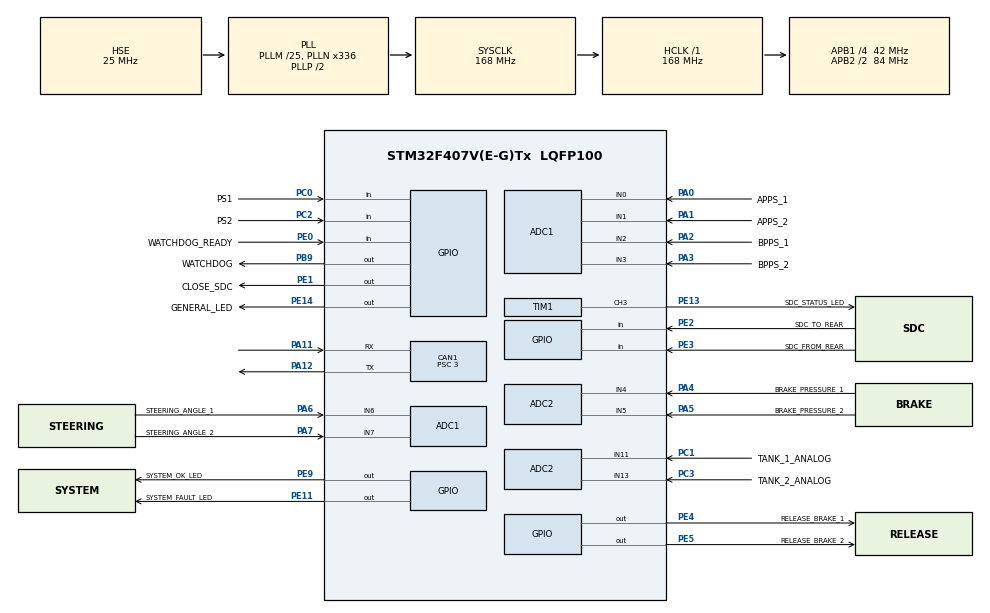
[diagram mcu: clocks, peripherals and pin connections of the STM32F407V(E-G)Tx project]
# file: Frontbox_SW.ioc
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ADC1.Channel-0\#ChannelRegularConversion=ADC_CHANNEL_0
ADC1.Channel-23\#ChannelRegularConversion=ADC_CHANNEL_1
ADC1.Channel-28\#ChannelRegularConversion=ADC_CHANNEL_2
ADC1.Channel-29\#ChannelRegularConversion=ADC_CHANNEL_3
ADC1.Channel-30\#ChannelRegularConversion=ADC_CHANNEL_6
ADC1.Channel-31\#ChannelRegularConversion=ADC_CHANNEL_7
ADC1.ContinuousConvMode=DISABLE
ADC1.DMAContinuousRequests=DISABLE
ADC1.DiscontinuousConvMode=DISABLE
ADC1.EOCSelection=ADC_EOC_SEQ_CONV
ADC1.EnableAnalogWatchDog=false
ADC1.ExternalTrigConv=ADC_EXTERNALTRIGCONV_T2_TRGO
ADC1.NbrOfConversion=6
ADC1.NbrOfConversionFlag=1
ADC1.Rank-0\#ChannelRegularConversion=1
ADC1.Rank-23\#ChannelRegularConversion=2
ADC1.Rank-28\#ChannelRegularConversion=3
ADC1.Rank-29\#ChannelRegularConversion=4
ADC1.Rank-30\#ChannelRegularConversion=5
ADC1.Rank-31\#ChannelRegularConversion=6
ADC1.SamplingTime-0\#ChannelRegularConversion=ADC_SAMPLETIME_3CYCLES
ADC1.SamplingTime-23\#ChannelRegularConversion=ADC_SAMPLETIME_3CYCLES
ADC1.SamplingTime-28\#ChannelRegularConversion=ADC_SAMPLETIME_3CYCLES
ADC1.SamplingTime-29\#ChannelRegularConversion=ADC_SAMPLETIME_3CYCLES
ADC1.SamplingTime-30\#ChannelRegularConversion=ADC_SAMPLETIME_3CYCLES
ADC1.SamplingTime-31\#ChannelRegularConversion=ADC_SAMPLETIME_3CYCLES
ADC1.master=1
ADC2.Channel-0\#ChannelRegularConversion=ADC_CHANNEL_4
ADC2.Channel-1\#ChannelRegularConversion=ADC_CHANNEL_5
ADC2.Channel-2\#ChannelRegularConversion=ADC_CHANNEL_11
ADC2.Channel-3\#ChannelRegularConversion=ADC_CHANNEL_13
ADC2.ContinuousConvMode=DISABLE
ADC2.DMAContinuousRequests=DISABLE
ADC2.EOCSelection=ADC_EOC_SEQ_CONV
ADC2.ExternalTrigConv=ADC_EXTERNALTRIGCONV_T8_TRGO
ADC2.NbrOfConversion=4
ADC2.NbrOfConversionFlag=1
ADC2.Rank-0\#ChannelRegularConversion=1
ADC2.Rank-1\#ChannelRegularConversion=2
ADC2.Rank-2\#ChannelRegularConversion=3
ADC2.Rank-3\#ChannelRegularConversion=4
ADC2.SamplingTime-0\#ChannelRegularConversion=ADC_SAMPLETIME_3CYCLES
ADC2.SamplingTime-1\#ChannelRegularConversion=ADC_SAMPLETIME_3CYCLES
ADC2.SamplingTime-2\#ChannelRegularConversion=ADC_SAMPLETIME_3CYCLES
ADC2.SamplingTime-3\#ChannelRegularConversion=ADC_SAMPLETIME_3CYCLES
CAN1.BS1=CAN_BS1_11TQ
CAN1.BS2=CAN_BS2_2TQ
CAN1.CalculateBaudRate=1000000
CAN1.CalculateTimeBit=1000
CAN1.CalculateTimeQuantum=71.42857142857143
CAN1.NART=ENABLE
CAN1.Prescaler=3
Dma.ADC1.0.Direction=DMA_PERIPH_TO_MEMORY
Dma.ADC1.0.FIFOMode=DMA_FIFOMODE_DISABLE
Dma.ADC1.0.Instance=DMA2_Stream0
Dma.ADC1.0.MemDataAlignment=DMA_MDATAALIGN_HALFWORD
Dma.ADC1.0.MemInc=DMA_MINC_ENABLE
Dma.ADC1.0.Mode=DMA_NORMAL
Dma.ADC1.0.PeriphDataAlignment=DMA_PDATAALIGN_HALFWORD
Dma.ADC1.0.PeriphInc=DMA_PINC_DISABLE
Dma.ADC1.0.Priority=DMA_PRIORITY_LOW
Dma.ADC2.1.Direction=DMA_PERIPH_TO_MEMORY
Dma.ADC2.1.FIFOMode=DMA_FIFOMODE_DISABLE
Dma.ADC2.1.Instance=DMA2_Stream2
Dma.ADC2.1.MemDataAlignment=DMA_MDATAALIGN_HALFWORD
Dma.ADC2.1.MemInc=DMA_MINC_ENABLE
Dma.ADC2.1.Mode=DMA_NORMAL
Dma.ADC2.1.PeriphDataAlignment=DMA_PDATAALIGN_HALFWORD
Dma.ADC2.1.PeriphInc=DMA_PINC_DISABLE
Dma.ADC2.1.Priority=DMA_PRIORITY_LOW
Dma.Request0=ADC1
Dma.Request1=ADC2
FREERTOS.BinarySemaphores01=angleBufferAvailableSemaphore,Dynamic,NULL,;pressureDmaCpltSemaphore,Dynamic,NULL,;angleDataAvailableSemaphore,Dynamic,NULL,;BrakeNotActiveSemaphore,Static,BrakeNotActiveSemaphoreControlBlock,Available
FREERTOS.Mutexes01=ebs_status_can_message_mutex_,Static,ebs_status_can_message_mutex_ControlBlock;can_message_mutex_,Static,can_message_mutex_ControlBlock
FREERTOS.Queues01=ebs_sm_event_queue_,16,Event_t,0,Static,ebs_sm_event_queueBuffer,ebs_sm_event_queueControlBlock
FREERTOS.Tasks01=ebs_sm_,24,512,taskEbsStateMachine,As weak,NULL,Static,ebs_sm_Buffer,ebs_sm_ControlBlock;can_rx_,16,256,taskCanRx,As weak,NULL,Static,can_rx_Buffer,can_rx_ControlBlock;can_tx_,16,256,taskCanTx,As weak,NULL,Static,can_tx_Buffer,can_tx_ControlBlock;angle_sensors_,48,512,taskAngleSensor,As weak,NULL,Static,angle_sensors_Buffer,angle_sensors_ControlBlock;pressure_sensor,24,256,taskPressureSensor,As weak,NULL,Static,pressure_sensorBuffer,pressure_sensorControlBlock;digital_inputs_,24,256,taskDigitalInputs,As weak,NULL,Static,digital_inputs_Buffer,digital_inputs_ControlBlock;heartbeat_,8,256,taskHeartbeat,As weak,NULL,Static,heartbeatBuffer,heartbeatControlBlock;CANNodeWatchDog,24,256,taskCANNodeWatchDog,As weak,NULL,Static,CANNodeWatchDogBuffer,CANNodeWatchDogControlBlock
FREERTOS.Timers01=timeoutTimer,timeoutCallback,osTimerOnce,As weak,NULL,Static,timeoutTimerControlBlock
FREERTOS.configMINIMAL_STACK_SIZE=256
Mcu.Family=STM32F4
Mcu.Name=STM32F407V(E-G)Tx
Mcu.Package=LQFP100
NVIC.CAN1_RX0_IRQn=true\:5\:0\:false\:false\:true\:true\:true\:true\:true
NVIC.CAN1_RX1_IRQn=true\:5\:0\:false\:false\:true\:true\:true\:true\:true
NVIC.DMA2_Stream0_IRQn=true\:5\:0\:false\:false\:true\:true\:false\:true\:true
NVIC.DMA2_Stream2_IRQn=true\:5\:0\:false\:false\:true\:true\:false\:true\:true
NVIC.PriorityGroup=NVIC_PRIORITYGROUP_4
NVIC.TIM1_TRG_COM_TIM11_IRQn=true\:5\:0\:false\:false\:true\:true\:true\:true\:true
NVIC.TIM1_UP_TIM10_IRQn=true\:5\:0\:false\:false\:true\:true\:true\:true\:true
NVIC.TIM6_DAC_IRQn=true\:15\:0\:false\:false\:true\:false\:false\:true\:true
NVIC.TIM7_IRQn=true\:5\:0\:false\:false\:true\:true\:true\:true\:true
NVIC.TIM8_BRK_TIM12_IRQn=true\:5\:0\:false\:false\:true\:true\:true\:true\:true
NVIC.TIM8_TRG_COM_TIM14_IRQn=true\:5\:0\:false\:false\:true\:true\:true\:true\:true
NVIC.TIM8_UP_TIM13_IRQn=true\:5\:0\:false\:false\:true\:true\:true\:true\:true
NVIC.TimeBase=TIM6_DAC_IRQn
NVIC.TimeBaseIP=TIM6
PA0-WKUP.GPIO_Label=APPS_1
PA0-WKUP.Signal=ADCx_IN0
PA1.GPIO_Label=APPS_2
PA1.Signal=ADCx_IN1
PA11.Mode=CAN_Activate
PA11.Signal=CAN1_RX
PA12.Mode=CAN_Activate
PA12.Signal=CAN1_TX
PA13.Mode=Serial_Wire
PA13.Signal=SYS_JTMS-SWDIO
PA14.Mode=Serial_Wire
PA14.Signal=SYS_JTCK-SWCLK
PA2.GPIO_Label=BPPS_1
PA2.Signal=ADCx_IN2
PA3.GPIO_Label=BPPS_2
PA3.Signal=ADCx_IN3
PA4.GPIO_Label=BRAKE_PRESSURE_1
PA4.Signal=ADCx_IN4
PA5.GPIO_Label=BRAKE_PRESSURE_2
PA5.Signal=ADCx_IN5
PA6.GPIO_Label=STEERING_ANGLE_1
PA6.Signal=ADCx_IN6
PA7.GPIO_Label=STEERING_ANGLE_2
PA7.Signal=ADCx_IN7
PB9.GPIO_Label=WATCHDOG
PB9.PinState=GPIO_PIN_RESET
PB9.Signal=GPIO_Output
PC0.GPIO_Label=PS1
PC0.Signal=GPIO_Input
PC1.GPIO_Label=TANK_1_ANALOG
PC1.Signal=ADCx_IN11
PC2.GPIO_Label=PS2
PC2.Signal=GPIO_Input
PC3.GPIO_Label=TANK_2_ANALOG
PC3.Signal=ADCx_IN13
PE0.GPIO_Label=WATCHDOG_READY
PE0.Signal=GPIO_Input
PE1.GPIO_Label=CLOSE_SDC
PE1.Signal=GPIO_Output
PE11.GPIO_Label=SYSTEM_FAULT_LED
PE11.Signal=GPIO_Output
PE13.GPIO_Label=SDC_STATUS_LED
PE13.Signal=S_TIM1_CH3
PE14.GPIO_Label=GENERAL_LED
PE14.Signal=GPIO_Output
PE2.GPIO_Label=SDC_TO_REAR
PE2.Signal=GPIO_Input
PE3.GPIO_Label=SDC_FROM_REAR
PE3.Signal=GPIO_Input
PE4.GPIO_Label=RELEASE_BRAKE_1
PE4.Signal=GPIO_Output
PE5.GPIO_Label=RELEASE_BRAKE_2
PE5.Signal=GPIO_Output
PE9.GPIO_Label=SYSTEM_OK_LED
PE9.Signal=GPIO_Output
PH0-OSC_IN.Mode=HSE-External-Oscillator
PH0-OSC_IN.Signal=RCC_OSC_IN
PH1-OSC_OUT.Mode=HSE-External-Oscillator
PH1-OSC_OUT.Signal=RCC_OSC_OUT
ProjectManager.HeapSize=0x200
ProjectManager.StackSize=0x400
ProjectManager.TargetToolchain=STM32CubeIDE
RCC.48MHZClocksFreq_Value=84000000
RCC.AHBFreq_Value=168000000
RCC.APB1CLKDivider=RCC_HCLK_DIV4
RCC.APB1Freq_Value=42000000
RCC.APB1TimFreq_Value=84000000
RCC.APB2CLKDivider=RCC_HCLK_DIV2
RCC.APB2Freq_Value=84000000
RCC.APB2TimFreq_Value=168000000
RCC.CortexFreq_Value=168000000
RCC.HCLKFreq_Value=168000000
RCC.HSE_VALUE=25000000
RCC.HSI_VALUE=16000000
RCC.LSE_VALUE=32768
RCC.PLLM=25
RCC.PLLN=336
RCC.PLLSourceVirtual=RCC_PLLSOURCE_HSE
RCC.SYSCLKFreq_VALUE=168000000
RCC.SYSCLKSource=RCC_SYSCLKSOURCE_PLLCLK
RCC.VCOOutputFreq_Value=336000000
SH.ADCx_IN0.0=ADC1_IN0,IN0
SH.ADCx_IN1.0=ADC1_IN1,IN1
SH.ADCx_IN11.0=ADC2_IN11,IN11
SH.ADCx_IN13.0=ADC2_IN13,IN13
SH.ADCx_IN2.0=ADC1_IN2,IN2
SH.ADCx_IN3.0=ADC1_IN3,IN3
SH.ADCx_IN4.0=ADC2_IN4,IN4
SH.ADCx_IN5.0=ADC2_IN5,IN5
SH.ADCx_IN6.0=ADC1_IN6,IN6
SH.ADCx_IN7.0=ADC1_IN7,IN7
SH.S_TIM1_CH3.0=TIM1_CH3,PWM Generation3 CH3
TIM1.AutoReloadPreload=TIM_AUTORELOAD_PRELOAD_ENABLE
TIM1.Channel-PWM\ Generation3\ CH3=TIM_CHANNEL_3
TIM1.ClockDivision=TIM_CLOCKDIVISION_DIV1
TIM1.OCIdleState_3=TIM_OCIDLESTATE_SET
TIM1.Period=62499
TIM1.Prescaler=1343
TIM1.Pulse-PWM\ Generation3\ CH3=31250
TIM10.AutoReloadPreload=TIM_AUTORELOAD_PRELOAD_ENABLE
TIM10.ClockDivision=TIM_CLOCKDIVISION_DIV4
TIM10.Period=200 - 1
TIM10.Prescaler=42000-1
TIM11.ClockDivision=TIM_CLOCKDIVISION_DIV4
TIM11.Period=200-1
TIM11.Prescaler=42000-1
TIM12.ClockDivision=TIM_CLOCKDIVISION_DIV2
TIM12.Period=200-1
TIM12.Prescaler=42000-1
TIM13.ClockDivision=TIM_CLOCKDIVISION_DIV2
TIM13.Period=200-1
TIM13.Prescaler=42000-1
TIM14.AutoReloadPreload=TIM_AUTORELOAD_PRELOAD_ENABLE
TIM14.ClockDivision=TIM_CLOCKDIVISION_DIV2
TIM14.Prescaler=42000-1
TIM2.Period=55999
TIM2.Prescaler=2
TIM2.TIM_MasterOutputTrigger=TIM_TRGO_UPDATE
TIM7.Period=49999
TIM7.Prescaler=167
TIM8.AutoReloadPreload=TIM_AUTORELOAD_PRELOAD_DISABLE
TIM8.Period=50000-1
TIM8.Prescaler=335
TIM8.TIM_MasterOutputTrigger=TIM_TRGO_UPDATE
VP_FREERTOS_VS_CMSIS_V2.Mode=CMSIS_V2
VP_SYS_VS_tim6.Mode=TIM6
VP_TIM10_VS_ClockSourceINT.Mode=Enable_Timer
VP_TIM11_VS_ClockSourceINT.Mode=Enable_Timer
VP_TIM12_VS_ClockSourceINT.Mode=Internal
VP_TIM13_VS_ClockSourceINT.Mode=Enable_Timer
VP_TIM14_VS_ClockSourceINT.Mode=Enable_Timer
VP_TIM1_VS_ClockSourceINT.Mode=Internal
VP_TIM2_VS_ClockSourceINT.Mode=Internal
VP_TIM7_VS_ClockSourceINT.Mode=Enable_Timer
VP_TIM8_VS_ClockSourceINT.Mode=Internal
board=custom

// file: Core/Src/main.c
/* USER CODE BEGIN Header */
/**
  ******************************************************************************
  * @file           : main.c
  * @brief          : Main program body
  ******************************************************************************
  * @attention
  *
  * Copyright (c) 2024 STMicroelectronics.
  * All rights reserved.
  *
  * This software is licensed under terms that can be found in the LICENSE file
  * in the root directory of this software component.
  * If no LICENSE file comes with this software, it is provided AS-IS.
  *
  ******************************************************************************
  */
/* USER CODE END Header */
#include "main.h"
#include "cmsis_os.h"

/* USER CODE BEGIN Includes */
#include "state_machine_common.h"
#include "callback.h"
/* USER CODE END Includes */

typedef StaticTask_t osStaticThreadDef_t;
typedef StaticQueue_t osStaticMessageQDef_t;
typedef StaticTimer_t osStaticTimerDef_t;
typedef StaticSemaphore_t osStaticSemaphoreDef_t;

ADC_HandleTypeDef hadc1;
ADC_HandleTypeDef hadc2;
DMA_HandleTypeDef hdma_adc1;
DMA_HandleTypeDef hdma_adc2;

CAN_HandleTypeDef hcan1;

TIM_HandleTypeDef htim1;
TIM_HandleTypeDef htim2;
TIM_HandleTypeDef htim7;
TIM_HandleTypeDef htim8;
TIM_HandleTypeDef htim10;
TIM_HandleTypeDef htim11;
TIM_HandleTypeDef htim12;
TIM_HandleTypeDef htim13;
TIM_HandleTypeDef htim14;

/* Definitions for ebs_sm_ */
osThreadId_t ebs_sm_Handle;
uint32_t ebs_sm_Buffer[ 512 ];
osStaticThreadDef_t ebs_sm_ControlBlock;
const osThreadAttr_t ebs_sm__attributes = {
  .name = "ebs_sm_",
  .cb_mem = &ebs_sm_ControlBlock,
  .cb_size = sizeof(ebs_sm_ControlBlock),
  .stack_mem = &ebs_sm_Buffer[0],
  .stack_size = sizeof(ebs_sm_Buffer),
  .priority = (osPriority_t) osPriorityNormal,
};
/* Definitions for can_rx_ */
osThreadId_t can_rx_Handle;
uint32_t can_rx_Buffer[ 256 ];
osStaticThreadDef_t can_rx_ControlBlock;
const osThreadAttr_t can_rx__attributes = {
  .name = "can_rx_",
  .cb_mem = &can_rx_ControlBlock,
  .cb_size = sizeof(can_rx_ControlBlock),
  .stack_mem = &can_rx_Buffer[0],
  .stack_size = sizeof(can_rx_Buffer),
  .priority = (osPriority_t) osPriorityBelowNormal,
};
/* Definitions for can_tx_ */
osThreadId_t can_tx_Handle;
uint32_t can_tx_Buffer[ 256 ];
osStaticThreadDef_t can_tx_ControlBlock;
const osThreadAttr_t can_tx__attributes = {
  .name = "can_tx_",
  .cb_mem = &can_tx_ControlBlock,
  .cb_size = sizeof(can_tx_ControlBlock),
  .stack_mem = &can_tx_Buffer[0],
  .stack_size = sizeof(can_tx_Buffer),
  .priority = (osPriority_t) osPriorityBelowNormal,
};
/* Definitions for angle_sensors_ */
osThreadId_t angle_sensors_Handle;
uint32_t angle_sensors_Buffer[ 512 ];
osStaticThreadDef_t angle_sensors_ControlBlock;
const osThreadAttr_t angle_sensors__attributes = {
  .name = "angle_sensors_",
  .cb_mem = &angle_sensors_ControlBlock,
  .cb_size = sizeof(angle_sensors_ControlBlock),
  .stack_mem = &angle_sensors_Buffer[0],
  .stack_size = sizeof(angle_sensors_Buffer),
  .priority = (osPriority_t) osPriorityRealtime,
};
/* Definitions for pressure_sensor */
osThreadId_t pressure_sensorHandle;
uint32_t pressure_sensorBuffer[ 256 ];
osStaticThreadDef_t pressure_sensorControlBlock;
const osThreadAttr_t pressure_sensor_attributes = {
  .name = "pressure_sensor",
  .cb_mem = &pressure_sensorControlBlock,
  .cb_size = sizeof(pressure_sensorControlBlock),
  .stack_mem = &pressure_sensorBuffer[0],
  .stack_size = sizeof(pressure_sensorBuffer),
  .priority = (osPriority_t) osPriorityNormal,
};
/* Definitions for digital_inputs_ */
osThreadId_t digital_inputs_Handle;
uint32_t digital_inputs_Buffer[ 256 ];
osStaticThreadDef_t digital_inputs_ControlBlock;
const osThreadAttr_t digital_inputs__attributes = {
  .name = "digital_inputs_",
  .cb_mem = &digital_inputs_ControlBlock,
  .cb_size = sizeof(digital_inputs_ControlBlock),
  .stack_mem = &digital_inputs_Buffer[0],
  .stack_size = sizeof(digital_inputs_Buffer),
  .priority = (osPriority_t) osPriorityNormal,
};
/* Definitions for heartbeat_ */
osThreadId_t heartbeat_Handle;
uint32_t heartbeatBuffer[ 256 ];
osStaticThreadDef_t heartbeatControlBlock;
const osThreadAttr_t heartbeat__attributes = {
  .name = "heartbeat_",
  .cb_mem = &heartbeatControlBlock,
  .cb_size = sizeof(heartbeatControlBlock),
  .stack_mem = &heartbeatBuffer[0],
  .stack_size = sizeof(heartbeatBuffer),
  .priority = (osPriority_t) osPriorityLow,
};
/* Definitions for CANNodeWatchDog */
osThreadId_t CANNodeWatchDogHandle;
uint32_t CANNodeWatchDogBuffer[ 256 ];
osStaticThreadDef_t CANNodeWatchDogControlBlock;
const osThreadAttr_t CANNodeWatchDog_attributes = {
  .name = "CANNodeWatchDog",
  .cb_mem = &CANNodeWatchDogControlBlock,
  .cb_size = sizeof(CANNodeWatchDogControlBlock),
  .stack_mem = &CANNodeWatchDogBuffer[0],
  .stack_size = sizeof(CANNodeWatchDogBuffer),
  .priority = (osPriority_t) osPriorityNormal,
};
/* Definitions for ebs_sm_event_queue_ */
osMessageQueueId_t ebs_sm_event_queue_Handle;
uint8_t ebs_sm_event_queueBuffer[ 16 * sizeof( Event_t ) ];
osStaticMessageQDef_t ebs_sm_event_queueControlBlock;
const osMessageQueueAttr_t ebs_sm_event_queue__attributes = {
  .name = "ebs_sm_event_queue_",
  .cb_mem = &ebs_sm_event_queueControlBlock,
  .cb_size = sizeof(ebs_sm_event_queueControlBlock),
  .mq_mem = &ebs_sm_event_queueBuffer,
  .mq_size = sizeof(ebs_sm_event_queueBuffer)
};
/* Definitions for timeoutTimer */
osTimerId_t timeoutTimerHandle;
osStaticTimerDef_t timeoutTimerControlBlock;
const osTimerAttr_t timeoutTimer_attributes = {
  .name = "timeoutTimer",
  .cb_mem = &timeoutTimerControlBlock,
  .cb_size = sizeof(timeoutTimerControlBlock),
};
/* Definitions for ebs_status_can_message_mutex_ */
osMutexId_t ebs_status_can_message_mutex_Handle;
const osMutexAttr_t ebs_status_can_message_mutex__attributes = {
  .name = "ebs_status_can_message_mutex_"
};
/* Definitions for can_message_mutex_ */
osMutexId_t can_message_mutex_Handle;
const osMutexAttr_t can_message_mutex__attributes = {
  .name = "can_message_mutex_"
};
/* Definitions for angleBufferAvailableSemaphore */
osSemaphoreId_t angleBufferAvailableSemaphoreHandle;
const osSemaphoreAttr_t angleBufferAvailableSemaphore_attributes = {
  .name = "angleBufferAvailableSemaphore"
};
/* Definitions for pressureDmaCpltSemaphore */
osSemaphoreId_t pressureDmaCpltSemaphoreHandle;
const osSemaphoreAttr_t pressureDmaCpltSemaphore_attributes = {
  .name = "pressureDmaCpltSemaphore"
};
/* Definitions for angleDataAvailableSemaphore */
osSemaphoreId_t angleDataAvailableSemaphoreHandle;
const osSemaphoreAttr_t angleDataAvailableSemaphore_attributes = {
  .name = "angleDataAvailableSemaphore"
};
/* Definitions for BrakeNotActiveSemaphore */
osSemaphoreId_t BrakeNotActiveSemaphoreHandle;
osStaticSemaphoreDef_t BrakeNotActiveSemaphoreControlBlock;
const osSemaphoreAttr_t BrakeNotActiveSemaphore_attributes = {
  .name = "BrakeNotActiveSemaphore",
  .cb_mem = &BrakeNotActiveSemaphoreControlBlock,
  .cb_size = sizeof(BrakeNotActiveSemaphoreControlBlock),
};

void SystemClock_Config(void);
static void MX_GPIO_Init(void);
static void MX_DMA_Init(void);
static void MX_ADC1_Init(void);
static void MX_ADC2_Init(void);
static void MX_CAN1_Init(void);
static void MX_TIM7_Init(void);
static void MX_TIM2_Init(void);
static void MX_TIM8_Init(void);
static void MX_TIM1_Init(void);
static void MX_TIM14_Init(void);
static void MX_TIM10_Init(void);
static void MX_TIM11_Init(void);
static void MX_TIM12_Init(void);
static void MX_TIM13_Init(void);
void taskEbsStateMachine(void *argument);
void taskCanRx(void *argument);
void taskCanTx(void *argument);
void taskAngleSensor(void *argument);
void taskPressureSensor(void *argument);
void taskDigitalInputs(void *argument);
void taskHeartbeat(void *argument);
void taskCANNodeWatchDog(void *argument);
void timeoutCallback(void *argument);

int main(void)
{

  /* MCU Configuration--------------------------------------------------------*/

  /* Reset of all peripherals, Initializes the Flash interface and the Systick. */
  HAL_Init();

  /* Configure the system clock */
  SystemClock_Config();

  /* Initialize all configured peripherals */
  MX_GPIO_Init();
  MX_DMA_Init();
  MX_ADC1_Init();
  MX_ADC2_Init();
  MX_CAN1_Init();
  MX_TIM7_Init();
  MX_TIM2_Init();
  MX_TIM8_Init();
  MX_TIM1_Init();
  MX_TIM14_Init();
  MX_TIM10_Init();
  MX_TIM11_Init();
  MX_TIM12_Init();
  MX_TIM13_Init();

  /* Init scheduler */
  osKernelInitialize();
  /* Create the mutex(es) */
  /* creation of ebs_status_can_message_mutex_ */
  ebs_status_can_message_mutex_Handle = osMutexNew(&ebs_status_can_message_mutex__attributes);

  /* creation of can_message_mutex_ */
  can_message_mutex_Handle = osMutexNew(&can_message_mutex__attributes);

  /* Create the semaphores(s) */
  /* creation of angleBufferAvailableSemaphore */
  angleBufferAvailableSemaphoreHandle = osSemaphoreNew(1, 0, &angleBufferAvailableSemaphore_attributes);

  /* creation of pressureDmaCpltSemaphore */
  pressureDmaCpltSemaphoreHandle = osSemaphoreNew(1, 0, &pressureDmaCpltSemaphore_attributes);

  /* creation of angleDataAvailableSemaphore */
  angleDataAvailableSemaphoreHandle = osSemaphoreNew(1, 0, &angleDataAvailableSemaphore_attributes);

  /* creation of BrakeNotActiveSemaphore */
  BrakeNotActiveSemaphoreHandle = osSemaphoreNew(1, 1, &BrakeNotActiveSemaphore_attributes);

  /* USER CODE BEGIN RTOS_SEMAPHORES */
  osSemaphoreRelease(angleDataAvailableSemaphoreHandle);
  /* USER CODE END RTOS_SEMAPHORES */

  /* Create the timer(s) */
  /* creation of timeoutTimer */
  timeoutTimerHandle = osTimerNew(timeoutCallback, osTimerOnce, NULL, &timeoutTimer_attributes);

  /* Create the queue(s) */
  /* creation of ebs_sm_event_queue_ */
  ebs_sm_event_queue_Handle = osMessageQueueNew (16, sizeof(Event_t), &ebs_sm_event_queue__attributes);

  /* Create the thread(s) */
  /* creation of ebs_sm_ */
  ebs_sm_Handle = osThreadNew(taskEbsStateMachine, NULL, &ebs_sm__attributes);

  /* creation of can_rx_ */
  can_rx_Handle = osThreadNew(taskCanRx, NULL, &can_rx__attributes);

  /* creation of can_tx_ */
  can_tx_Handle = osThreadNew(taskCanTx, NULL, &can_tx__attributes);

  /* creation of angle_sensors_ */
  angle_sensors_Handle = osThreadNew(taskAngleSensor, NULL, &angle_sensors__attributes);

  /* creation of pressure_sensor */
  pressure_sensorHandle = osThreadNew(taskPressureSensor, NULL, &pressure_sensor_attributes);

  /* creation of digital_inputs_ */
  digital_inputs_Handle = osThreadNew(taskDigitalInputs, NULL, &digital_inputs__attributes);

  /* creation of heartbeat_ */
  heartbeat_Handle = osThreadNew(taskHeartbeat, NULL, &heartbeat__attributes);

  /* creation of CANNodeWatchDog */
  CANNodeWatchDogHandle = osThreadNew(taskCANNodeWatchDog, NULL, &CANNodeWatchDog_attributes);

  /* Start scheduler */
  osKernelStart();

  /* We should never get here as control is now taken by the scheduler */

  /* Infinite loop */
  while (1)
  {

  }
}

void SystemClock_Config(void)
{
  RCC_OscInitTypeDef RCC_OscInitStruct = {0};
  RCC_ClkInitTypeDef RCC_ClkInitStruct = {0};

  /** Configure the main internal regulator output voltage
  */
  __HAL_RCC_PWR_CLK_ENABLE();
  __HAL_PWR_VOLTAGESCALING_CONFIG(PWR_REGULATOR_VOLTAGE_SCALE1);

  /** Initializes the RCC Oscillators according to the specified parameters
  * in the RCC_OscInitTypeDef structure.
  */
  RCC_OscInitStruct.OscillatorType = RCC_OSCILLATORTYPE_HSE;
  RCC_OscInitStruct.HSEState = RCC_HSE_ON;
  RCC_OscInitStruct.PLL.PLLState = RCC_PLL_ON;
  RCC_OscInitStruct.PLL.PLLSource = RCC_PLLSOURCE_HSE;
  RCC_OscInitStruct.PLL.PLLM = 25;
  RCC_OscInitStruct.PLL.PLLN = 336;
  RCC_OscInitStruct.PLL.PLLP = RCC_PLLP_DIV2;
  RCC_OscInitStruct.PLL.PLLQ = 4;
  if (HAL_RCC_OscConfig(&RCC_OscInitStruct) != HAL_OK)
  {
    Error_Handler();
  }

  /** Initializes the CPU, AHB and APB buses clocks
  */
  RCC_ClkInitStruct.ClockType = RCC_CLOCKTYPE_HCLK|RCC_CLOCKTYPE_SYSCLK
                              |RCC_CLOCKTYPE_PCLK1|RCC_CLOCKTYPE_PCLK2;
  RCC_ClkInitStruct.SYSCLKSource = RCC_SYSCLKSOURCE_PLLCLK;
  RCC_ClkInitStruct.AHBCLKDivider = RCC_SYSCLK_DIV1;
  RCC_ClkInitStruct.APB1CLKDivider = RCC_HCLK_DIV4;
  RCC_ClkInitStruct.APB2CLKDivider = RCC_HCLK_DIV2;

  if (HAL_RCC_ClockConfig(&RCC_ClkInitStruct, FLASH_LATENCY_5) != HAL_OK)
  {
    Error_Handler();
  }
}

static void MX_ADC1_Init(void)
{

  ADC_ChannelConfTypeDef sConfig = {0};

  /** Configure the global features of the ADC (Clock, Resolution, Data Alignment and number of conversion)
  */
  hadc1.Instance = ADC1;
  hadc1.Init.ClockPrescaler = ADC_CLOCK_SYNC_PCLK_DIV4;
  hadc1.Init.Resolution = ADC_RESOLUTION_12B;
  hadc1.Init.ScanConvMode = ENABLE;
  hadc1.Init.ContinuousConvMode = DISABLE;
  hadc1.Init.DiscontinuousConvMode = DISABLE;
  hadc1.Init.ExternalTrigConvEdge = ADC_EXTERNALTRIGCONVEDGE_RISING;
  hadc1.Init.ExternalTrigConv = ADC_EXTERNALTRIGCONV_T2_TRGO;
  hadc1.Init.DataAlign = ADC_DATAALIGN_RIGHT;
  hadc1.Init.NbrOfConversion = 6;
  hadc1.Init.DMAContinuousRequests = DISABLE;
  hadc1.Init.EOCSelection = ADC_EOC_SEQ_CONV;
  if (HAL_ADC_Init(&hadc1) != HAL_OK)
  {
    Error_Handler();
  }

  /** Configure for the selected ADC regular channel its corresponding rank in the sequencer and its sample time.
  */
  sConfig.Channel = ADC_CHANNEL_0;
  sConfig.Rank = 1;
  sConfig.SamplingTime = ADC_SAMPLETIME_3CYCLES;
  if (HAL_ADC_ConfigChannel(&hadc1, &sConfig) != HAL_OK)
  {
    Error_Handler();
  }

  /** Configure for the selected ADC regular channel its corresponding rank in the sequencer and its sample time.
  */
  sConfig.Channel = ADC_CHANNEL_1;
  sConfig.Rank = 2;
  if (HAL_ADC_ConfigChannel(&hadc1, &sConfig) != HAL_OK)
  {
    Error_Handler();
  }

  /** Configure for the selected ADC regular channel its corresponding rank in the sequencer and its sample time.
  */
  sConfig.Channel = ADC_CHANNEL_2;
  sConfig.Rank = 3;
  if (HAL_ADC_ConfigChannel(&hadc1, &sConfig) != HAL_OK)
  {
    Error_Handler();
  }

  /** Configure for the selected ADC regular channel its corresponding rank in the sequencer and its sample time.
  */
  sConfig.Channel = ADC_CHANNEL_3;
  sConfig.Rank = 4;
  if (HAL_ADC_ConfigChannel(&hadc1, &sConfig) != HAL_OK)
  {
    Error_Handler();
  }

  /** Configure for the selected ADC regular channel its corresponding rank in the sequencer and its sample time.
  */
  sConfig.Channel = ADC_CHANNEL_6;
  sConfig.Rank = 5;
  if (HAL_ADC_ConfigChannel(&hadc1, &sConfig) != HAL_OK)
  {
    Error_Handler();
  }

  /** Configure for the selected ADC regular channel its corresponding rank in the sequencer and its sample time.
  */
  sConfig.Channel = ADC_CHANNEL_7;
  sConfig.Rank = 6;
  if (HAL_ADC_ConfigChannel(&hadc1, &sConfig) != HAL_OK)
  {
    Error_Handler();
  }

}

static void MX_ADC2_Init(void)
{

  ADC_ChannelConfTypeDef sConfig = {0};

  /** Configure the global features of the ADC (Clock, Resolution, Data Alignment and number of conversion)
  */
  hadc2.Instance = ADC2;
  hadc2.Init.ClockPrescaler = ADC_CLOCK_SYNC_PCLK_DIV4;
  hadc2.Init.Resolution = ADC_RESOLUTION_12B;
  hadc2.Init.ScanConvMode = ENABLE;
  hadc2.Init.ContinuousConvMode = DISABLE;
  hadc2.Init.DiscontinuousConvMode = DISABLE;
  hadc2.Init.ExternalTrigConvEdge = ADC_EXTERNALTRIGCONVEDGE_RISING;
  hadc2.Init.ExternalTrigConv = ADC_EXTERNALTRIGCONV_T8_TRGO;
  hadc2.Init.DataAlign = ADC_DATAALIGN_RIGHT;
  hadc2.Init.NbrOfConversion = 4;
  hadc2.Init.DMAContinuousRequests = DISABLE;
  hadc2.Init.EOCSelection = ADC_EOC_SEQ_CONV;
  if (HAL_ADC_Init(&hadc2) != HAL_OK)
  {
    Error_Handler();
  }

  /** Configure for the selected ADC regular channel its corresponding rank in the sequencer and its sample time.
  */
  sConfig.Channel = ADC_CHANNEL_4;
  sConfig.Rank = 1;
  sConfig.SamplingTime = ADC_SAMPLETIME_3CYCLES;
  if (HAL_ADC_ConfigChannel(&hadc2, &sConfig) != HAL_OK)
  {
    Error_Handler();
  }

  /** Configure for the selected ADC regular channel its corresponding rank in the sequencer and its sample time.
  */
  sConfig.Channel = ADC_CHANNEL_5;
  sConfig.Rank = 2;
  if (HAL_ADC_ConfigChannel(&hadc2, &sConfig) != HAL_OK)
  {
    Error_Handler();
  }

  /** Configure for the selected ADC regular channel its corresponding rank in the sequencer and its sample time.
  */
  sConfig.Channel = ADC_CHANNEL_11;
  sConfig.Rank = 3;
  if (HAL_ADC_ConfigChannel(&hadc2, &sConfig) != HAL_OK)
  {
    Error_Handler();
  }

  /** Configure for the selected ADC regular channel its corresponding rank in the sequencer and its sample time.
  */
  sConfig.Channel = ADC_CHANNEL_13;
  sConfig.Rank = 4;
  if (HAL_ADC_ConfigChannel(&hadc2, &sConfig) != HAL_OK)
  {
    Error_Handler();
  }

}

static void MX_CAN1_Init(void)
{

  hcan1.Instance = CAN1;
  hcan1.Init.Prescaler = 3;
  hcan1.Init.Mode = CAN_MODE_NORMAL;
  hcan1.Init.SyncJumpWidth = CAN_SJW_1TQ;
  hcan1.Init.TimeSeg1 = CAN_BS1_11TQ;
  hcan1.Init.TimeSeg2 = CAN_BS2_2TQ;
  hcan1.Init.TimeTriggeredMode = DISABLE;
  hcan1.Init.AutoBusOff = DISABLE;
  hcan1.Init.AutoWakeUp = DISABLE;
  hcan1.Init.AutoRetransmission = ENABLE;
  hcan1.Init.ReceiveFifoLocked = DISABLE;
  hcan1.Init.TransmitFifoPriority = DISABLE;
  if (HAL_CAN_Init(&hcan1) != HAL_OK)
  {
    Error_Handler();
  }

}

static void MX_TIM1_Init(void)
{

  TIM_ClockConfigTypeDef sClockSourceConfig = {0};
  TIM_MasterConfigTypeDef sMasterConfig = {0};
  TIM_OC_InitTypeDef sConfigOC = {0};
  TIM_BreakDeadTimeConfigTypeDef sBreakDeadTimeConfig = {0};

  htim1.Instance = TIM1;
  htim1.Init.Prescaler = 1343;
  htim1.Init.CounterMode = TIM_COUNTERMODE_UP;
  htim1.Init.Period = 62499;
  htim1.Init.ClockDivision = TIM_CLOCKDIVISION_DIV1;
  htim1.Init.RepetitionCounter = 0;
  htim1.Init.AutoReloadPreload = TIM_AUTORELOAD_PRELOAD_ENABLE;
  if (HAL_TIM_Base_Init(&htim1) != HAL_OK)
  {
    Error_Handler();
  }
  sClockSourceConfig.ClockSource = TIM_CLOCKSOURCE_INTERNAL;
  if (HAL_TIM_ConfigClockSource(&htim1, &sClockSourceConfig) != HAL_OK)
  {
    Error_Handler();
  }
  if (HAL_TIM_PWM_Init(&htim1) != HAL_OK)
  {
    Error_Handler();
  }
  sMasterConfig.MasterOutputTrigger = TIM_TRGO_RESET;
  sMasterConfig.MasterSlaveMode = TIM_MASTERSLAVEMODE_DISABLE;
  if (HAL_TIMEx_MasterConfigSynchronization(&htim1, &sMasterConfig) != HAL_OK)
  {
    Error_Handler();
  }
  sConfigOC.OCMode = TIM_OCMODE_PWM1;
  sConfigOC.Pulse = 31250;
  sConfigOC.OCPolarity = TIM_OCPOLARITY_HIGH;
  sConfigOC.OCNPolarity = TIM_OCNPOLARITY_HIGH;
  sConfigOC.OCFastMode = TIM_OCFAST_DISABLE;
  sConfigOC.OCIdleState = TIM_OCIDLESTATE_SET;
  sConfigOC.OCNIdleState = TIM_OCNIDLESTATE_RESET;
  if (HAL_TIM_PWM_ConfigChannel(&htim1, &sConfigOC, TIM_CHANNEL_3) != HAL_OK)
  {
    Error_Handler();
  }
  sBreakDeadTimeConfig.OffStateRunMode = TIM_OSSR_DISABLE;
  sBreakDeadTimeConfig.OffStateIDLEMode = TIM_OSSI_DISABLE;
  sBreakDeadTimeConfig.LockLevel = TIM_LOCKLEVEL_OFF;
  sBreakDeadTimeConfig.DeadTime = 0;
  sBreakDeadTimeConfig.BreakState = TIM_BREAK_DISABLE;
  sBreakDeadTimeConfig.BreakPolarity = TIM_BREAKPOLARITY_HIGH;
  sBreakDeadTimeConfig.AutomaticOutput = TIM_AUTOMATICOUTPUT_DISABLE;
  if (HAL_TIMEx_ConfigBreakDeadTime(&htim1, &sBreakDeadTimeConfig) != HAL_OK)
  {
    Error_Handler();
  }
  HAL_TIM_MspPostInit(&htim1);

}

static void MX_TIM2_Init(void)
{

  TIM_ClockConfigTypeDef sClockSourceConfig = {0};
  TIM_MasterConfigTypeDef sMasterConfig = {0};

  htim2.Instance = TIM2;
  htim2.Init.Prescaler = 2;
  htim2.Init.CounterMode = TIM_COUNTERMODE_UP;
  htim2.Init.Period = 55999;
  htim2.Init.ClockDivision = TIM_CLOCKDIVISION_DIV1;
  htim2.Init.AutoReloadPreload = TIM_AUTORELOAD_PRELOAD_DISABLE;
  if (HAL_TIM_Base_Init(&htim2) != HAL_OK)
  {
    Error_Handler();
  }
  sClockSourceConfig.ClockSource = TIM_CLOCKSOURCE_INTERNAL;
  if (HAL_TIM_ConfigClockSource(&htim2, &sClockSourceConfig) != HAL_OK)
  {
    Error_Handler();
  }
  sMasterConfig.MasterOutputTrigger = TIM_TRGO_UPDATE;
  sMasterConfig.MasterSlaveMode = TIM_MASTERSLAVEMODE_DISABLE;
  if (HAL_TIMEx_MasterConfigSynchronization(&htim2, &sMasterConfig) != HAL_OK)
  {
    Error_Handler();
  }

}

static void MX_TIM7_Init(void)
{

  TIM_MasterConfigTypeDef sMasterConfig = {0};

  htim7.Instance = TIM7;
  htim7.Init.Prescaler = 167;
  htim7.Init.CounterMode = TIM_COUNTERMODE_UP;
  htim7.Init.Period = 49999;
  htim7.Init.AutoReloadPreload = TIM_AUTORELOAD_PRELOAD_DISABLE;
  if (HAL_TIM_Base_Init(&htim7) != HAL_OK)
  {
    Error_Handler();
  }
  sMasterConfig.MasterOutputTrigger = TIM_TRGO_RESET;
  sMasterConfig.MasterSlaveMode = TIM_MASTERSLAVEMODE_DISABLE;
  if (HAL_TIMEx_MasterConfigSynchronization(&htim7, &sMasterConfig) != HAL_OK)
  {
    Error_Handler();
  }

}

static void MX_TIM8_Init(void)
{

  TIM_ClockConfigTypeDef sClockSourceConfig = {0};
  TIM_MasterConfigTypeDef sMasterConfig = {0};

  htim8.Instance = TIM8;
  htim8.Init.Prescaler = 335;
  htim8.Init.CounterMode = TIM_COUNTERMODE_UP;
  htim8.Init.Period = 50000-1;
  htim8.Init.ClockDivision = TIM_CLOCKDIVISION_DIV1;
  htim8.Init.RepetitionCounter = 0;
  htim8.Init.AutoReloadPreload = TIM_AUTORELOAD_PRELOAD_DISABLE;
  if (HAL_TIM_Base_Init(&htim8) != HAL_OK)
  {
    Error_Handler();
  }
  sClockSourceConfig.ClockSource = TIM_CLOCKSOURCE_INTERNAL;
  if (HAL_TIM_ConfigClockSource(&htim8, &sClockSourceConfig) != HAL_OK)
  {
    Error_Handler();
  }
  sMasterConfig.MasterOutputTrigger = TIM_TRGO_UPDATE;
  sMasterConfig.MasterSlaveMode = TIM_MASTERSLAVEMODE_DISABLE;
  if (HAL_TIMEx_MasterConfigSynchronization(&htim8, &sMasterConfig) != HAL_OK)
  {
    Error_Handler();
  }

}

static void MX_TIM10_Init(void)
{

  htim10.Instance = TIM10;
  htim10.Init.Prescaler = 42000-1;
  htim10.Init.CounterMode = TIM_COUNTERMODE_UP;
  htim10.Init.Period = 200 - 1;
  htim10.Init.ClockDivision = TIM_CLOCKDIVISION_DIV4;
  htim10.Init.AutoReloadPreload = TIM_AUTORELOAD_PRELOAD_ENABLE;
  if (HAL_TIM_Base_Init(&htim10) != HAL_OK)
  {
    Error_Handler();
  }

}

static void MX_TIM11_Init(void)
{

  htim11.Instance = TIM11;
  htim11.Init.Prescaler = 42000-1;
  htim11.Init.CounterMode = TIM_COUNTERMODE_UP;
  htim11.Init.Period = 200-1;
  htim11.Init.ClockDivision = TIM_CLOCKDIVISION_DIV4;
  htim11.Init.AutoReloadPreload = TIM_AUTORELOAD_PRELOAD_DISABLE;
  if (HAL_TIM_Base_Init(&htim11) != HAL_OK)
  {
    Error_Handler();
  }

}

static void MX_TIM12_Init(void)
{

  TIM_ClockConfigTypeDef sClockSourceConfig = {0};

  htim12.Instance = TIM12;
  htim12.Init.Prescaler = 42000-1;
  htim12.Init.CounterMode = TIM_COUNTERMODE_UP;
  htim12.Init.Period = 200-1;
  htim12.Init.ClockDivision = TIM_CLOCKDIVISION_DIV2;
  htim12.Init.AutoReloadPreload = TIM_AUTORELOAD_PRELOAD_DISABLE;
  if (HAL_TIM_Base_Init(&htim12) != HAL_OK)
  {
    Error_Handler();
  }
  sClockSourceConfig.ClockSource = TIM_CLOCKSOURCE_INTERNAL;
  if (HAL_TIM_ConfigClockSource(&htim12, &sClockSourceConfig) != HAL_OK)
  {
    Error_Handler();
  }

}

static void MX_TIM13_Init(void)
{

  htim13.Instance = TIM13;
  htim13.Init.Prescaler = 42000-1;
  htim13.Init.CounterMode = TIM_COUNTERMODE_UP;
  htim13.Init.Period = 200-1;
  htim13.Init.ClockDivision = TIM_CLOCKDIVISION_DIV2;
  htim13.Init.AutoReloadPreload = TIM_AUTORELOAD_PRELOAD_DISABLE;
  if (HAL_TIM_Base_Init(&htim13) != HAL_OK)
  {
    Error_Handler();
  }

}

static void MX_TIM14_Init(void)
{

  htim14.Instance = TIM14;
  htim14.Init.Prescaler = 42000-1;
  htim14.Init.CounterMode = TIM_COUNTERMODE_UP;
  htim14.Init.Period = 65535;
  htim14.Init.ClockDivision = TIM_CLOCKDIVISION_DIV2;
  htim14.Init.AutoReloadPreload = TIM_AUTORELOAD_PRELOAD_ENABLE;
  if (HAL_TIM_Base_Init(&htim14) != HAL_OK)
  {
    Error_Handler();
  }

}

static void MX_DMA_Init(void)
{

  /* DMA controller clock enable */
  __HAL_RCC_DMA2_CLK_ENABLE();

  /* DMA interrupt init */
  /* DMA2_Stream0_IRQn interrupt configuration */
  HAL_NVIC_SetPriority(DMA2_Stream0_IRQn, 5, 0);
  HAL_NVIC_EnableIRQ(DMA2_Stream0_IRQn);
  /* DMA2_Stream2_IRQn interrupt configuration */
  HAL_NVIC_SetPriority(DMA2_Stream2_IRQn, 5, 0);
  HAL_NVIC_EnableIRQ(DMA2_Stream2_IRQn);

}

static void MX_GPIO_Init(void)
{
  GPIO_InitTypeDef GPIO_InitStruct = {0};

  /* GPIO Ports Clock Enable */
  __HAL_RCC_GPIOE_CLK_ENABLE();
  __HAL_RCC_GPIOH_CLK_ENABLE();
  __HAL_RCC_GPIOC_CLK_ENABLE();
  __HAL_RCC_GPIOA_CLK_ENABLE();
  __HAL_RCC_GPIOB_CLK_ENABLE();

  /*Configure GPIO pin Output Level */
  HAL_GPIO_WritePin(GPIOE, RELEASE_BRAKE_1_Pin|RELEASE_BRAKE_2_Pin|SYSTEM_OK_LED_Pin|SYSTEM_FAULT_LED_Pin
                          |GENERAL_LED_Pin|CLOSE_SDC_Pin, GPIO_PIN_RESET);

  /*Configure GPIO pin Output Level */
  HAL_GPIO_WritePin(WATCHDOG_GPIO_Port, WATCHDOG_Pin, GPIO_PIN_RESET);

  /*Configure GPIO pins : SDC_TO_REAR_Pin SDC_FROM_REAR_Pin WATCHDOG_READY_Pin */
  GPIO_InitStruct.Pin = SDC_TO_REAR_Pin|SDC_FROM_REAR_Pin|WATCHDOG_READY_Pin;
  GPIO_InitStruct.Mode = GPIO_MODE_INPUT;
  GPIO_InitStruct.Pull = GPIO_NOPULL;
  HAL_GPIO_Init(GPIOE, &GPIO_InitStruct);

  /*Configure GPIO pins : RELEASE_BRAKE_1_Pin RELEASE_BRAKE_2_Pin SYSTEM_OK_LED_Pin SYSTEM_FAULT_LED_Pin
                           GENERAL_LED_Pin CLOSE_SDC_Pin */
  GPIO_InitStruct.Pin = RELEASE_BRAKE_1_Pin|RELEASE_BRAKE_2_Pin|SYSTEM_OK_LED_Pin|SYSTEM_FAULT_LED_Pin
                          |GENERAL_LED_Pin|CLOSE_SDC_Pin;
  GPIO_InitStruct.Mode = GPIO_MODE_OUTPUT_PP;
  GPIO_InitStruct.Pull = GPIO_NOPULL;
  GPIO_InitStruct.Speed = GPIO_SPEED_FREQ_LOW;
  HAL_GPIO_Init(GPIOE, &GPIO_InitStruct);

  /*Configure GPIO pins : PS1_Pin PS2_Pin */
  GPIO_InitStruct.Pin = PS1_Pin|PS2_Pin;
  GPIO_InitStruct.Mode = GPIO_MODE_INPUT;
  GPIO_InitStruct.Pull = GPIO_NOPULL;
  HAL_GPIO_Init(GPIOC, &GPIO_InitStruct);

  /*Configure GPIO pin : WATCHDOG_Pin */
  GPIO_InitStruct.Pin = WATCHDOG_Pin;
  GPIO_InitStruct.Mode = GPIO_MODE_OUTPUT_PP;
  GPIO_InitStruct.Pull = GPIO_NOPULL;
  GPIO_InitStruct.Speed = GPIO_SPEED_FREQ_LOW;
  HAL_GPIO_Init(WATCHDOG_GPIO_Port, &GPIO_InitStruct);

}

__weak void taskEbsStateMachine(void *argument)
{
  for(;;)
  {
    osDelay(1);
  }
}

__weak void taskCanRx(void *argument)
{
  for(;;)
  {
    osDelay(1);
  }
}

__weak void taskCanTx(void *argument)
{
  for(;;)
  {
    osDelay(1);
  }
}

__weak void taskAngleSensor(void *argument)
{
  for(;;)
  {
    osDelay(1);
  }
}

__weak void taskPressureSensor(void *argument)
{
  for(;;)
  {
    osDelay(1);
  }
}

__weak void taskDigitalInputs(void *argument)
{
  for(;;)
  {
    osDelay(1);
  }
}

__weak void taskHeartbeat(void *argument)
{
  for(;;)
  {
    osDelay(1);
  }
}

__weak void taskCANNodeWatchDog(void *argument)
{
  for(;;)
  {
    osDelay(1);
  }
}

/* timeoutCallback function */
__weak void timeoutCallback(void *argument)
{
}

void HAL_TIM_PeriodElapsedCallback(TIM_HandleTypeDef *htim)
{
  if (htim->Instance == TIM6) {
    HAL_IncTick();
  }
  /* USER CODE BEGIN Callback 1 */
	Event_t event = { 0 };

	if (htim->Instance == TIM7) {
		event.eEventType = eWatchdogEvent;
		osMessageQueuePut(ebs_sm_event_queue_Handle, &event, osPriorityNone, 0);
	}

	if (htim->Instance == TIM10) {
		if(TIM10->CNT >0){
			event.eEventType = eASSystemNotOkEvent;
			osMessageQueuePut(ebs_sm_event_queue_Handle, &event, osPriorityNone, 0);
			}
		}

	if (htim->Instance == TIM11) {
			event.eEventType = eRESNotOkEvent;
			osMessageQueuePut(ebs_sm_event_queue_Handle, &event, osPriorityNone, 0);
		}

	if (htim->Instance == TIM12) {
			event.eEventType = eVESCNotOkEvent;
			osMessageQueuePut(ebs_sm_event_queue_Handle, &event, osPriorityNone, 0);
		}

	if (htim->Instance == TIM13) {
			event.eEventType = eDSPACENotOkEvent;
			//osMessageQueuePut(ebs_sm_event_queue_Handle, &event, osPriorityNone, 0);
		}

  /* USER CODE END Callback 1 */
}

void Error_Handler(void)
{
  /* USER CODE BEGIN Error_Handler_Debug */
  /* User can add his own implementation to report the HAL error return state */
  __disable_irq();
  while (1)
  {
	  HAL_GPIO_WritePin(SYSTEM_FAULT_LED_GPIO_Port, SYSTEM_FAULT_LED_Pin, GPIO_PIN_SET);

  }
  /* USER CODE END Error_Handler_Debug */
}
